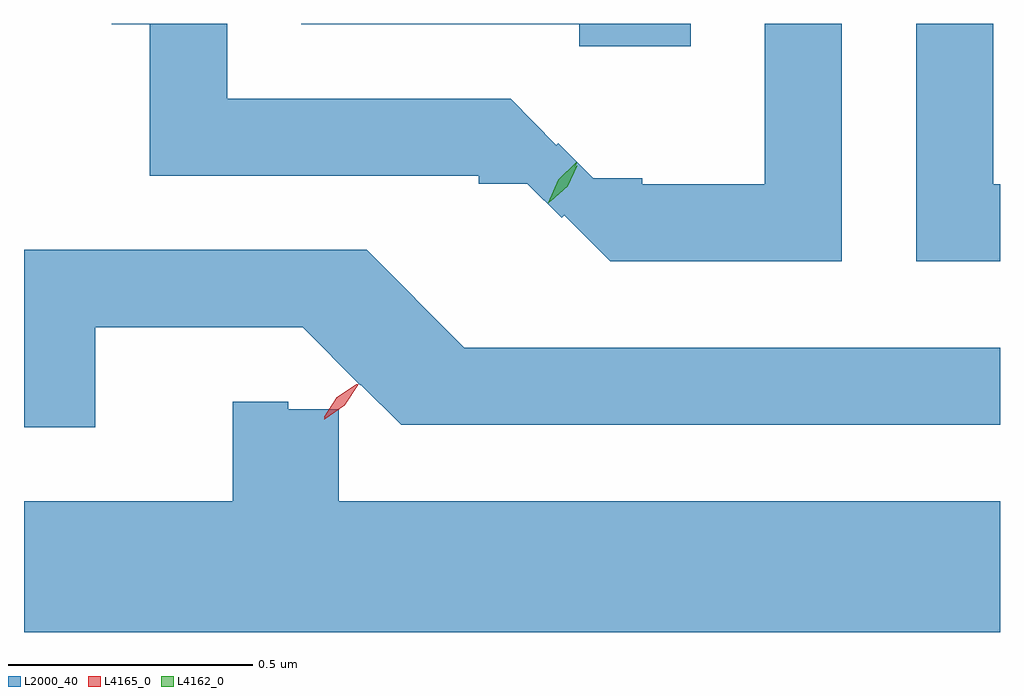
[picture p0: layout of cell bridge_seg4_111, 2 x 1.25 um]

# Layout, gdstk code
import gdstk
lib = gdstk.Library(unit=1e-6, precision=1e-09)
def P(c, l, *ps):  # polygons
    for p in ps: c.add(gdstk.Polygon(p, *l))
L2000_40 = (2000, 40)
L4162_0 = (4162, 0)
L4165_0 = (4165, 0)

bridge_seg4_111 = lib.new_cell('bridge_seg4_111')
P(bridge_seg4_111, L2000_40, [(860.763,1335.614),(860.749,1335.614),(860.749,1335.942),(860.591,1335.942),(860.591,1335.456),(860.763,1335.456)],
  [(860.439,1335.942),(860.281,1335.942),(860.281,1335.614),(860.03,1335.614),(860.03,1335.626),(859.93,1335.626),(859.858,1335.698),(859.854,1335.694),(859.76,1335.789),(859.179,1335.789),(859.179,1335.942),(858.943,1335.942),(858.943,1335.941),(859.021,1335.941),(859.021,1335.631),(859.695,1335.631),(859.695,1335.615),(859.794,1335.615),(859.865,1335.545),(859.87,1335.55),(859.964,1335.456),(860.439,1335.456)],
  [(860.129,1335.942),(859.331,1335.942),(859.331,1335.941),(859.901,1335.941),(859.901,1335.896),(860.129,1335.896)],
  [(858.909,1335.321),(859.334,1335.321),(859.452,1335.202),(859.453,1335.203),(859.536,1335.121),(860.763,1335.121),(860.763,1335.279),(859.665,1335.279),(859.465,1335.479),(858.763,1335.479),(858.763,1335.116),(858.909,1335.116)],
  [(860.763,1334.964),(859.408,1334.964),(859.408,1335.153),(859.305,1335.153),(859.305,1335.168),(859.191,1335.168),(859.191,1334.964),(858.763,1334.964),(858.763,1334.696),(860.763,1334.696)])
P(bridge_seg4_111, L4162_0, [(859.837,1335.575),(859.837,1335.576),(859.858,1335.623),(859.895,1335.659),(859.896,1335.659),(859.896,1335.658),(859.874,1335.611),(859.837,1335.575)],
  [(859.841,1335.579),(859.841,1335.58),(859.861,1335.621),(859.896,1335.651),(859.897,1335.651),(859.897,1335.651),(859.877,1335.609),(859.842,1335.579)])
P(bridge_seg4_111, L4165_0, [(859.378,1335.132),(859.378,1335.133),(859.406,1335.175),(859.447,1335.204),(859.448,1335.204),(859.448,1335.203),(859.42,1335.161),(859.379,1335.132)],
  [(859.378,1335.136),(859.378,1335.137),(859.404,1335.177),(859.444,1335.204),(859.445,1335.204),(859.445,1335.203),(859.418,1335.163),(859.379,1335.136)])

lib.write_gds('bridge_seg4_111.gds')
